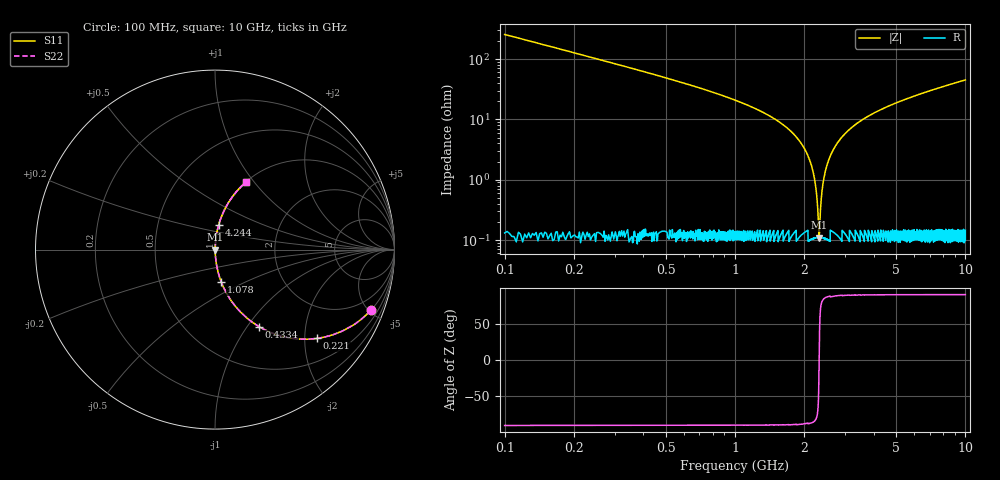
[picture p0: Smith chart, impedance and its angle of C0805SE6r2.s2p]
! AVX Thin Film Operation		Date: April 2012
! Description: Accu-P® Series, Thin Film, SMD, RF Capacitor
! Part Number: 08051J6R2BBTTR
!	100	MHz	-	10.05	GHz
!	Serial	Measurements
#	MHZ	S	MA	R	50
!	S11	S21	S12	S22
!	dB	Phase	dB	Phase	dB	Phase	dB	Phase
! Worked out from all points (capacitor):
!   4010 points, 100 MHz to 10 GHz, reference 50 ohm
!   read as one part in series: C = 6.2 pF near 149.4 MHz
!   lowest |Z| = 110 mohm at 2.318 GHz (marker M1)
!   series resonance near 2.318 GHz, so ESL is about 760 pH
!   S11 on the Smith chart (normalised r, x): 100 MHz: 1.01, -5.12; 221 MHz: 1.00, -2.30; 433.4 MHz: 1.00, -1.14; 1.078 GHz: 1.00, -0.37; 4.244 GHz: 1.00, +0.29; 10 GHz: 1.00, +0.90
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100  0.931 -21.3  0.364 68.7  0.364 68.7  0.931 -21.3
221.003  0.754 -41.0  0.656 49.0  0.656 49.0  0.754 -41.0
433.375  0.496 -60.2  0.867 29.7  0.867 29.7  0.496 -60.2
685.258  0.323 -70.9  0.945 18.9  0.945 18.9  0.323 -70.9
1077.9  0.183 -79.1  0.982 10.6  0.982 10.6  0.183 -79.1
1752.058  0.063 -85.3  0.997 3.6  0.997 3.6  0.063 -85.3
1979.247  0.035 -86.0  0.998 2.0  0.998 2.0  0.035 -86.0
2129.883  0.019 -85.3  0.999 1.1  0.999 1.1  0.019 -85.3
2216.313  0.01 -82.6  0.999 0.6  0.999 0.6  0.01 -82.6
2285.458  0.00338 -69.0  0.999 0.2  0.999 0.2  0.00338 -69.0
2317.56  0.0012 -3.3  0.999 0.0  0.999 0.0  0.0012 -3.3
2347.194  0.00299 66.2  0.999 -0.2  0.999 -0.2  0.00299 66.2
2399.052  0.00767 80.6  0.999 -0.4  0.999 -0.4  0.00767 80.6
2448.441  0.012 83.6  0.999 -0.7  0.999 -0.7  0.012 83.6
2616.363  0.027 85.9  0.998 -1.5  0.998 -1.5  0.027 85.9
2920.105  0.051 85.7  0.997 -2.9  0.997 -2.9  0.051 85.7
3401.646  0.087 84.2  0.995 -5.0  0.995 -5.0  0.087 84.2
4243.727  0.141 81.4  0.989 -8.1  0.989 -8.1  0.141 81.4
5051.235  0.187 78.9  0.981 -10.8  0.981 -10.8  0.187 78.9
6700.823  0.271 74.0  0.961 -15.7  0.961 -15.7  0.271 74.0
8350.412  0.345 69.6  0.937 -20.2  0.937 -20.2  0.345 69.6
10000  0.411 65.6  0.91 -24.3  0.91 -24.3  0.411 65.6
